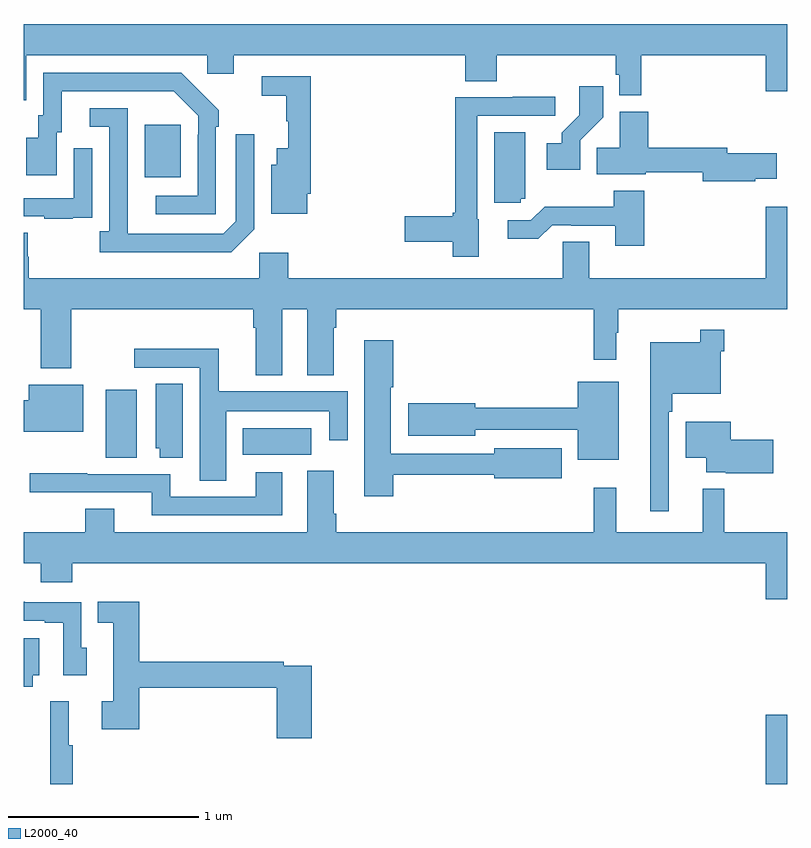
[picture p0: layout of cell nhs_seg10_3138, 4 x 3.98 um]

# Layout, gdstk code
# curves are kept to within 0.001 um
import gdstk
lib = gdstk.Library(unit=1e-6, precision=1e-09)
def R(c, l, rs):  # rectangles x0, y0, x1, y1
    for r in rs: c.add(gdstk.rectangle(r[:2], r[2:], *l))
def P(c, l, *ps):  # polygons
    for p in ps: c.add(gdstk.Polygon(p, *l))
L2000_40 = (2000, 40)

nhs_seg10_3138 = lib.new_cell('nhs_seg10_3138')
R(nhs_seg10_3138, L2000_40, [(284.888,1292.5,285,1292.863), (281.429,1294.21,281.59,1294.567), (282.146,1294.226,282.505,1294.366), (281.633,1295.681,281.821,1295.956)])
P(nhs_seg10_3138, L2000_40, [(281.011,1296.32),(281.961,1296.32),(281.961,1296.222),(282.1,1296.222),(282.1,1296.32),(283.313,1296.32),(283.313,1296.184),(283.478,1296.184),(283.478,1296.32),(284.101,1296.32),(284.101,1296.219),(284.121,1296.219),(284.121,1296.11),(284.237,1296.11),(284.237,1296.32),(284.888,1296.32),(284.888,1296.132),(285,1296.132),(285,1296.484),(281,1296.484),(281,1296.085),(281.011,1296.085)],
  [(282.006,1295.945),(282.021,1295.945),(282.021,1296.033),(281.824,1296.228),(281.1,1296.228),(281.1,1296.006),(281.075,1296.006),(281.075,1295.887),(281.012,1295.887),(281.012,1295.691),(281.173,1295.691),(281.173,1295.916),(281.197,1295.916),(281.197,1296.132),(281.785,1296.132),(281.913,1296.003),(281.913,1295.903),(281.91,1295.903),(281.91,1295.583),(281.691,1295.583),(281.691,1295.487),(282.006,1295.487)],
  [(282.484,1295.593),(282.503,1295.593),(282.503,1296.21),(282.246,1296.21),(282.246,1296.109),(282.375,1296.109),(282.375,1295.973),(282.386,1295.973),(282.386,1295.833),(282.326,1295.833),(282.326,1295.746),(282.296,1295.746),(282.296,1295.489),(282.484,1295.489)],
  [(283.917,1295.875),(284.036,1295.994),(284.036,1296.157),(283.911,1296.157),(283.911,1296.005),(283.82,1295.915),(283.82,1295.86),(283.74,1295.86),(283.74,1295.72),(283.917,1295.72)],
  [(283.384,1295.46),(283.377,1295.46),(283.377,1296.003),(283.786,1296.003),(283.786,1296.102),(283.561,1296.102),(283.561,1296.099),(283.261,1296.099),(283.261,1295.495),(283.248,1295.495),(283.248,1295.477),(282.996,1295.477),(282.996,1295.342),(283.248,1295.342),(283.248,1295.264),(283.384,1295.264)],
  [(282.207,1295.409),(282.207,1295.905),(282.111,1295.905),(282.111,1295.451),(282.045,1295.385),(281.545,1295.385),(281.544,1296.042),(281.346,1296.042),(281.346,1295.946),(281.448,1295.946),(281.448,1295.398),(281.397,1295.398),(281.397,1295.288),(282.086,1295.288)],
  [(284.834,1295.672),(284.947,1295.672),(284.947,1295.807),(284.686,1295.807),(284.686,1295.836),(284.273,1295.836),(284.273,1296.025),(284.123,1296.025),(284.123,1295.834),(284.002,1295.834),(284.002,1295.696),(284.26,1295.696),(284.26,1295.707),(284.558,1295.707),(284.558,1295.66),(284.834,1295.66)],
  [(283.605,1295.568),(283.627,1295.568),(283.627,1295.917),(283.466,1295.917),(283.466,1295.547),(283.605,1295.547)],
  [(281.255,1295.469),(281.357,1295.469),(281.357,1295.578),(281.358,1295.578),(281.358,1295.833),(281.262,1295.833),(281.262,1295.571),(281,1295.571),(281,1295.475),(281.107,1295.475),(281.107,1295.463),(281.255,1295.463)],
  [(284.252,1295.611),(284.092,1295.611),(284.092,1295.527),(283.729,1295.527),(283.656,1295.454),(283.536,1295.454),(283.536,1295.357),(283.697,1295.357),(283.77,1295.43),(283.87,1295.43),(283.87,1295.427),(284.099,1295.427),(284.099,1295.322),(284.252,1295.322)],
  [(282.355,1294.988),(282.485,1294.988),(282.485,1294.643),(282.625,1294.643),(282.625,1294.892),(282.638,1294.892),(282.638,1294.988),(283.987,1294.988),(283.987,1294.725),(284.104,1294.725),(284.104,1294.865),(284.116,1294.865),(284.116,1294.988),(285,1294.988),(285,1295.527),(284.888,1295.527),(284.888,1295.152),(283.963,1295.152),(283.963,1295.342),(283.824,1295.342),(283.824,1295.152),(282.386,1295.152),(282.386,1295.284),(282.234,1295.284),(282.234,1295.152),(281.024,1295.152),(281.024,1295.265),(281.019,1295.265),(281.019,1295.39),(281,1295.39),(281,1294.988),(281.087,1294.988),(281.087,1294.679),(281.247,1294.679),(281.247,1294.988),(282.203,1294.988),(282.203,1294.892),(282.215,1294.892),(282.215,1294.643),(282.355,1294.643)],
  [(284.379,1294.451),(284.399,1294.451),(284.399,1294.547),(284.652,1294.547),(284.652,1294.769),(284.672,1294.769),(284.672,1294.882),(284.544,1294.882),(284.544,1294.816),(284.282,1294.816),(284.282,1293.93),(284.379,1293.93)],
  [(282.935,1294.122),(283.466,1294.122),(283.466,1294.103),(283.819,1294.103),(283.819,1294.261),(283.466,1294.261),(283.466,1294.23),(282.922,1294.23),(282.922,1294.579),(282.935,1294.579),(282.935,1294.825),(282.785,1294.825),(282.785,1294.008),(282.935,1294.008)],
  [(282.061,1294.454),(282.6,1294.454),(282.6,1294.302),(282.696,1294.302),(282.696,1294.558),(282.02,1294.558),(282.02,1294.781),(281.577,1294.781),(281.577,1294.683),(281.921,1294.683),(281.921,1294.09),(282.061,1294.09)],
  [(284.119,1294.609),(283.904,1294.609),(283.904,1294.472),(283.366,1294.472),(283.366,1294.496),(283.014,1294.496),(283.014,1294.325),(283.366,1294.325),(283.366,1294.356),(283.904,1294.356),(283.904,1294.199),(284.119,1294.199)],
  [(281.833,1294.598),(281.69,1294.598),(281.69,1294.26),(281.711,1294.26),(281.711,1294.21),(281.833,1294.21)],
  [(281.311,1294.594),(281.024,1294.594),(281.024,1294.512),(281,1294.512),(281,1294.346),(281.311,1294.346)],
  [(284.929,1294.304),(284.704,1294.304),(284.704,1294.399),(284.468,1294.399),(284.468,1294.211),(284.576,1294.211),(284.576,1294.133),(284.68,1294.133),(284.68,1294.128),(284.929,1294.128)],
  [(284.888,1293.468),(285,1293.468),(285,1293.82),(284.67,1293.82),(284.67,1294.048),(284.558,1294.048),(284.558,1293.82),(284.105,1293.82),(284.105,1294.054),(283.987,1294.054),(283.987,1293.82),(282.638,1293.82),(282.638,1293.916),(282.625,1293.916),(282.625,1294.141),(282.485,1294.141),(282.485,1293.82),(281.473,1293.82),(281.473,1293.944),(281.321,1293.944),(281.321,1293.82),(281,1293.82),(281,1293.656),(281.087,1293.656),(281.087,1293.557),(281.252,1293.557),(281.252,1293.656),(284.888,1293.656)],
  [(282.355,1294.135),(282.215,1294.135),(282.215,1294.005),(281.767,1294.005),(281.767,1294.125),(281.333,1294.125),(281.333,1294.128),(281.031,1294.128),(281.031,1294.029),(281.669,1294.029),(281.669,1293.909),(282.355,1293.909)],
  [(281.329,1293.213),(281.301,1293.213),(281.301,1293.453),(281.003,1293.453),(281.003,1293.455),(281,1293.455),(281,1293.357),(281.108,1293.357),(281.108,1293.345),(281.205,1293.345),(281.205,1293.069),(281.329,1293.069)],
  [(282.509,1293.12),(282.362,1293.12),(282.362,1293.14),(281.603,1293.14),(281.603,1293.455),(281.386,1293.455),(281.386,1293.345),(281.468,1293.345),(281.468,1292.934),(281.409,1292.934),(281.409,1292.786),(281.603,1292.786),(281.603,1293.004),(282.326,1293.004),(282.326,1292.739),(282.509,1292.739)],
  [(281.047,1293.071),(281.08,1293.071),(281.08,1293.265),(281,1293.265),(281,1293.011),(281.047,1293.011)],
  [(281.255,1292.703),(281.236,1292.703),(281.236,1292.935),(281.138,1292.935),(281.138,1292.5),(281.255,1292.5)])

lib.write_gds('nhs_seg10_3138.gds')
